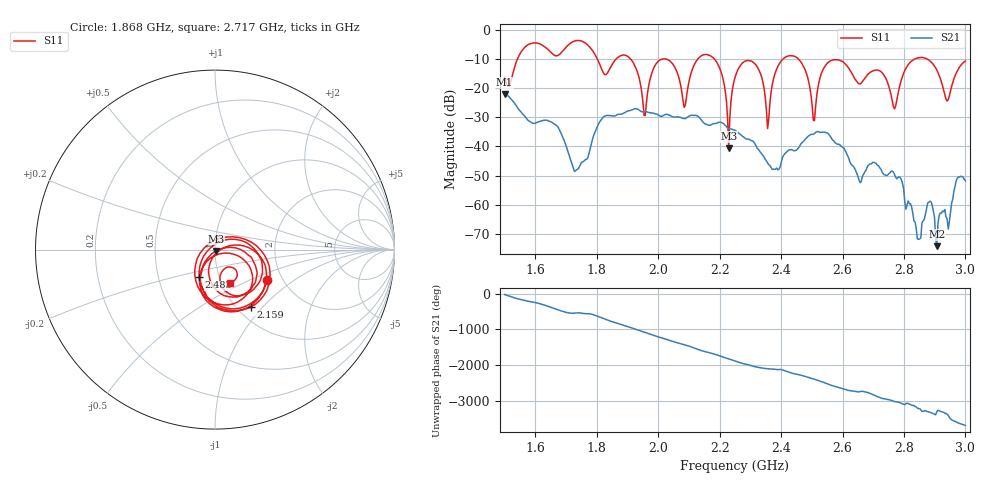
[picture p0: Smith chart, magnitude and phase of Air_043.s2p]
# HZ S RI R 50
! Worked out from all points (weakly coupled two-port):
!   404 points, 1.5 GHz to 3 GHz, reference 50 ohm
!   highest |S21| = -22.16 dB at 1.5 GHz (marker M1); lowest = -74.2 dB at 2.907 GHz (marker M2)
!   lowest |S11| = -40.6 dB at 2.23 GHz (marker M3), VSWR 1.02, Z = 50.6 - j0.76 ohm
!   |S11| at or under -10 dB: 2.183 GHz to 2.406 GHz (223.4 MHz wide, 9.74 % of centre); 2.457 GHz to 2.835 GHz (378.7 MHz wide, 14.3 % of centre); 2.875 GHz to end of sweep (the widest 3 of 7)
!   S12 and S22 are empty: the file has one direction only
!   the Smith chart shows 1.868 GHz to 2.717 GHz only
!   S11 on the Smith chart (normalised r, x): 1.868 GHz: 1.65, -0.64; 2.159 GHz: 1.15, -0.86; 2.483 GHz: 0.80, -0.26; 2.717 GHz: 1.09, -0.42
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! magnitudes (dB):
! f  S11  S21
! 1.5 GHz  -16.3  -22.2
! 1.753 GHz  -3.9  -45.3
! 1.868 GHz  -9.5  -29.0
! 1.958 GHz  -29.4  -28.0
! 2.002 GHz  -10.6  -29.4
! 2.084 GHz  -26.6  -30.4
! 2.159 GHz  -8.5  -32.5
! 2.23 GHz  -40.6  -33.8
! 2.252 GHz  -15.7  -34.6
! 2.315 GHz  -11.7  -39.2
! 2.356 GHz  -33.8  -45.6
! 2.408 GHz  -9.8  -43.1
! 2.483 GHz  -15.0  -37.1
! 2.501 GHz  -26.0  -35.8
! 2.561 GHz  -10.6  -36.6
! 2.717 GHz  -13.9  -46.6
! 2.751 GHz  -19.3  -49.3
! 2.847 GHz  -9.6  -71.9
! 2.885 GHz  -10.7  -58.8
! 2.907 GHz  -13.8  -74.2
! 2.94 GHz  -24.4  -64.8
! 3 GHz  -10.7  -51.7
